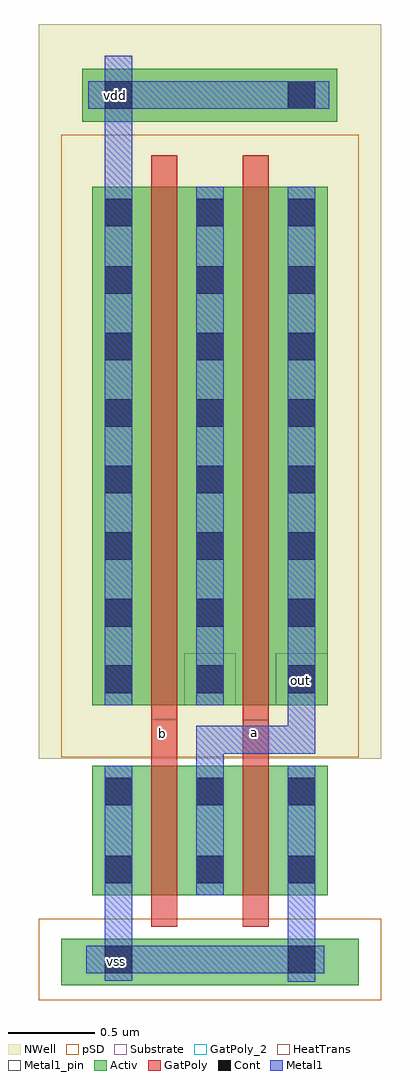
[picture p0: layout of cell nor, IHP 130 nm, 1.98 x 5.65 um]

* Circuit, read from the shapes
.subckt nor a b out vdd vss
XM1 out b vss vss sg13_lv_nmos w=0.75u l=0.15u
XM2 vss a out vss sg13_lv_nmos w=0.75u l=0.15u
XM3 n1 b vdd vdd sg13_lv_pmos w=3u l=0.15u
XM4 out a n1 vdd sg13_lv_pmos w=3u l=0.15u
.ends

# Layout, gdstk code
import gdstk
lib = gdstk.Library(unit=1e-6, precision=5e-09)
def R(c, l, rs):  # rectangles x0, y0, x1, y1
    for r in rs: c.add(gdstk.rectangle(r[:2], r[2:], *l))
def A(c, l, x, y, w, h, nx, ny, dx, dy):  # array of equal rectangles
    R(c, l, [(x+i*dx, y+j*dy, x+i*dx+w, y+j*dy+h) for i in range(nx) for j in range(ny)])
Activ = (1, 0)
GatPoly = (5, 0)
GatPoly_2 = (5, 2)
Cont = (6, 0)
Metal1 = (8, 0)
Metal1_pin = (8, 2)
pSD = (14, 0)
NWell = (31, 0)
Substrate = (40, 0)
HeatTrans = (51, 0)

pmos_1 = lib.new_cell('pmos$1')
R(pmos_1, Activ, [(0,0,0.3,0.3), (0,0,0.83,3), (0.53,0,0.83,0.3)])
R(pmos_1, GatPoly, [(0.34,-0.18,0.49,3.18), (0.34,-0.18,0.49,3.18)])
A(pmos_1, Cont, 0.07, 0.07, 0.16, 0.16, 1, 7, 0, 0.385)
A(pmos_1, Cont, 0.6, 0.07, 0.16, 0.16, 1, 7, 0, 0.385)
R(pmos_1, Cont, [(0.07,2.77,0.23,2.93), (0.6,2.77,0.76,2.93)])
R(pmos_1, Metal1, [(0.07,0,0.23,3), (0.07,0,0.23,3), (0.6,0,0.76,3), (0.6,0,0.76,3)])
R(pmos_1, pSD, [(-0.18,-0.3,1.01,3.3)])
R(pmos_1, NWell, [(-0.31,-0.31,1.14,3.31)])
R(pmos_1, Substrate, [(0.53,0,0.83,0.3)])
R(pmos_1, HeatTrans, [(0.34,-0.18,0.49,3.18)])
pmos_1.add(gdstk.Label('pmos', (0.415,1.5), layer=63, texttype=0))
pmos_1.add(gdstk.Label('pmos', (0.415,1.5), layer=51, texttype=0))

nmos = lib.new_cell('nmos')
R(nmos, Activ, [(0,0,0.3,0.3), (0,0,0.83,0.75), (0.53,0,0.83,0.3)])
R(nmos, GatPoly, [(0.34,-0.18,0.49,0.93)])
R(nmos, GatPoly_2, [(0.34,-0.18,0.49,0.93)])
R(nmos, Cont, [(0.07,0.07,0.23,0.23), (0.6,0.07,0.76,0.23), (0.07,0.52,0.23,0.68), (0.6,0.52,0.76,0.68)])
R(nmos, Metal1, [(0.07,0,0.23,0.75), (0.6,0,0.76,0.75)])
R(nmos, Metal1_pin, [(0.07,0,0.23,0.75), (0.6,0,0.76,0.75)])
R(nmos, HeatTrans, [(0.34,-0.18,0.49,0.93)])
nmos.add(gdstk.Label('nmos', (0.415,0.375), layer=63, texttype=0))
nmos.add(gdstk.Label('nmos', (0.415,0.375), layer=51, texttype=0))

nor = lib.new_cell('nor')
R(nor, Activ, [(-2.805,-1.175,-1.085,-0.905), (-2.685,3.82,-1.21,4.125)])
R(nor, GatPoly, [(-1.755,-0.625,-1.605,0.285), (-2.285,-0.62,-2.135,0.285)])
R(nor, GatPoly_2, [(-1.755,0.195,-1.605,0.36), (-2.285,0.2,-2.135,0.365)])
R(nor, Cont, [(-2.555,-1.105,-2.395,-0.945), (-1.495,-1.105,-1.335,-0.945), (-2.555,3.895,-2.395,4.055), (-1.495,3.895,-1.335,4.055)])
R(nor, Metal1, [(-1.495,-1.155,-1.335,-1.025), (-2.555,-1.15,-2.395,-1.03), (-2.66,-1.105,-2.555,-0.945), (-1.415,-1.105,-1.285,-0.945), (-2.555,3.215,-2.395,4.2), (-2.65,3.895,-1.255,4.055)])
R(nor, Metal1_pin, [(-2.555,-1.105,-2.395,-0.945), (-1.495,-1.105,-1.335,-0.945), (-1.495,0.515,-1.335,0.675), (-2.555,3.895,-2.395,4.055), (-1.495,3.895,-1.335,4.055)])
R(nor, pSD, [(-2.935,-1.26,-0.955,-0.79)])
R(nor, NWell, [(-2.935,3.755,-0.955,4.385)])
nor.add(gdstk.FlexPath([(-2.475,-0.585),(-2.475,-1.025),(-1.415,-1.025),(-1.415,-0.59)], 0.16, ends="flush", simple_path=True, layer=8, datatype=0))  # Metal1
nor.add(gdstk.FlexPath([(-1.945,-0.265),(-1.945,0.245),(-1.415,0.245),(-1.415,0.595)], 0.16, ends="flush", simple_path=True, layer=8, datatype=0))  # Metal1
nor.add(gdstk.Reference(pmos_1, (-2.625,0.445)))
nor.add(gdstk.Reference(pmos_1, (-2.095,0.445)))
nor.add(gdstk.Reference(nmos, (-2.625,-0.655)))
nor.add(gdstk.Reference(nmos, (-2.095,-0.655)))
nor.add(gdstk.Label('vss', (-2.485,-1.04), layer=8, texttype=2))
nor.add(gdstk.Label('vdd', (-2.49,3.97), layer=8, texttype=2))
nor.add(gdstk.Label('out', (-1.42,0.59), layer=8, texttype=2))
nor.add(gdstk.Label('a', (-1.685,0.29), layer=5, texttype=2))
nor.add(gdstk.Label('b', (-2.22,0.28), layer=5, texttype=2))

lib.write_gds('nor.gds')
